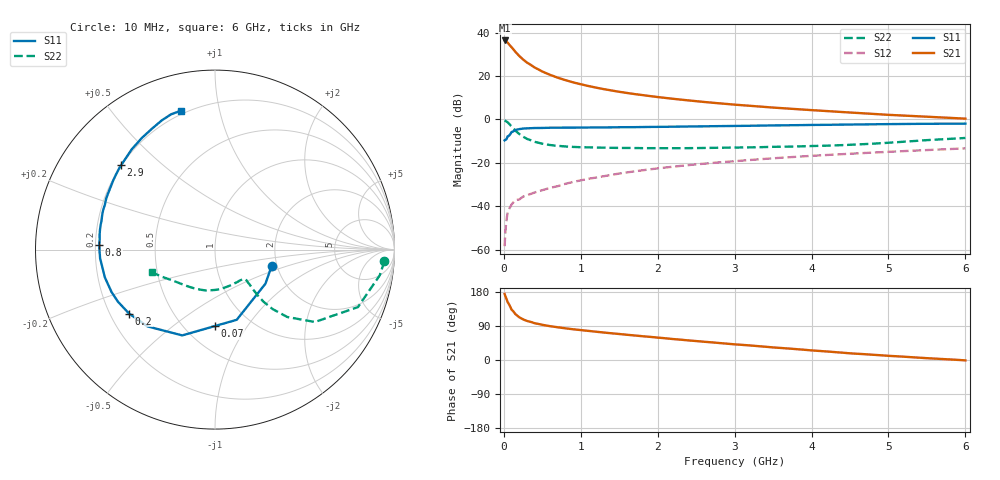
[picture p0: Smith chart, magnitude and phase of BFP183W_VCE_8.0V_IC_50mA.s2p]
! Infineon Technologies  Discrete & RF Semiconductors
! BFP183W
! VCE =  8.0 V,  IC =  50 mA
! Common Emitter S-Parameters:  Jan 2017
# GHz  S  MA  R  50
!  f  S11  S21  S12  S22
! GHz  MAG  ANG  MAG  ANG  MAG  ANG  MAG  ANG
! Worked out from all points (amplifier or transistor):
!   77 points, 10 MHz to 6 GHz, reference 50 ohm
!   highest |S21| = 36.4 dB at 10 MHz (marker M1)
!   |S21| within 3 dB of that: start of sweep to 97.22 MHz
!   unconditionally stable (mu >= 1): 668.4 MHz to 3.342 GHz
!   at 130 MHz: K = 0.39, MSG = 35.0 dB, |S12| = -38.0 dB
!   at 2.2 GHz: K = 1.07, MAG = 14.0 dB, |S12| = -21.8 dB
!   at 6 GHz: K = 0.85, MSG = 6.9 dB, |S12| = -13.4 dB
!   S11 on the Smith chart (normalised r, x): 10 MHz: 1.88, -0.38; 70 MHz: 0.69, -0.72; 200 MHz: 0.28, -0.31; 800 MHz: 0.22, +0.02; 2.9 GHz: 0.20, +0.37; 6 GHz: 0.18, +0.77
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0.01  0.3288 -15.8  65.83 174.2  0.0012 90.1  0.9465 -3.9
0.02  0.3392 -34.1  64.51 168.2  0.0026 86.7  0.9289 -8.9
0.05  0.4094 -72.8  58.62 152.6  0.0072 66.8  0.8586 -21.9
0.07  0.4259 -90.1  52.89 145.9  0.0087 62.3  0.7849 -26.8
0.1  0.5117 -110.9  46.05 133.1  0.0109 57.9  0.6876 -35.9
0.15  0.5696 -131.3  36.05 121.1  0.0138 53.1  0.5506 -43.0
0.2  0.5968 -143.3  28.96 112.9  0.0143 50.4  0.4616 -45.9
0.25  0.6138 -151.8  24.03 107.2  0.0166 49.8  0.4 -47.0
0.3  0.6229 -157.6  20.41 103.1  0.0178 50.8  0.3566 -47.1
0.4  0.633 -165.9  15.7 97.1  0.0207 54.4  0.3042 -46.2
0.5  0.6355 -171.3  12.66 92.8  0.0234 57.0  0.2752 -45.3
0.6  0.642 -175.6  10.64 89.3  0.0264 59.2  0.2566 -44.8
0.7  0.6431 -179.1  9.144 86.4  0.0289 62.5  0.2453 -44.3
0.8  0.6457 177.7  8.03 83.6  0.0328 63.7  0.2381 -44.5
1.1  0.6502 170.2  5.872 76.8  0.0429 65.1  0.2269 -46.8
1.5  0.6592 161.9  4.324 68.6  0.0565 66.1  0.2201 -52.4
2.1  0.6751 150.7  3.124 57.3  0.0777 65.2  0.217 -65.2
2.9  0.7029 138.1  2.264 43.1  0.1055 61.4  0.2231 -86.4
3.1  0.7092 135.2  2.12 39.9  0.1124 60.3  0.2254 -91.8
4.1  0.747 121.8  1.594 23.9  0.1479 54.0  0.2455 -118.7
5.1  0.781 111.5  1.248 9.9  0.1824 47.3  0.2974 -145.3
6  0.7968 103.7  1.041 -1.0  0.2147 40.7  0.3731 -160.2
